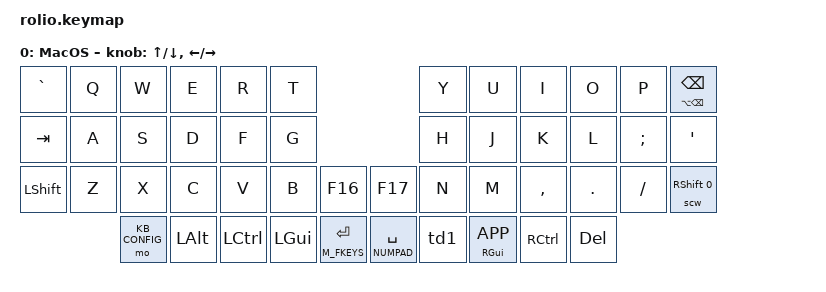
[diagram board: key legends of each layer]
/*
 * Copyright (c) 2023 The ZMK Contributors
 *
 * SPDX-License-Identifier: MIT
 */

#include <behaviors.dtsi>
#include <dt-bindings/zmk/keys.h>
#include <dt-bindings/zmk/bt.h>
#include <dt-bindings/zmk/outputs.h>
#include <dt-bindings/zmk/backlight.h>
#include "elpekenin/behaviors.dtsi"

#define ZMK_POINTING_DEFAULT_SCRL_VAL 100
#include <dt-bindings/zmk/pointing.h>

// Helpful macros borrowed from AndrewMSHowe
#define ___ &trans

// Layer numbers for use by the keymap & macros
#define MACOS     0
/ {

    keymap {
        compatible = "zmk,keymap";

        default_layer {
            display-name = "MacOS";
            sensor-bindings = <&inc_dec_kp UP DOWN &inc_dec_kp LEFT RIGHT>;
            bindings = <
// ╭───────────────┬───────────────┬───────────────┬───────────────┬───────────────┬───────────────╮                                 ╭───────────────┬───────────────┬───────────────┬───────────────┬───────────────┬───────────────╮
       &kp GRAVE      &kp Q            &kp W           &kp E           &kp R           &kp T     /*|                                 |*/  &kp Y          &kp U           &kp I           &kp O           &kp P          &mt LA(BSPC) BSPC
       &kp TAB        &kp A            &kp S           &kp D           &kp F           &kp G     /*├─────────────╮     ╭─────────────┤*/  &kp H          &kp J           &kp K           &kp L           &kp SEMI       &kp SQT
       &kp LSHIFT     &kp Z            &kp X           &kp C           &kp V           &kp B           &kp F16             &kp F17        &kp N          &kp M           &kp COMMA       &kp DOT         &kp FSLH       &scw RSHIFT 0
/* ╰───────────────┴───────────────┤*/ &mo KB_CONFIG   &kp LALT        &kp LCTRL       &kp LGUI   &lt M_FKEYS ENTER   &lt NUMPAD SPACE    &td1           &mt RGUI K_APP  &kp RCTRL       &kp DEL   //├───────────────┴───────────────╯
//                                 ╰───────────────┴───────────────┴───────────────┴───────────────┴─────────────╯     ╰─────────────┴───────────────┴───────────────┴───────────────┴───────────────╯
            >;
        };
